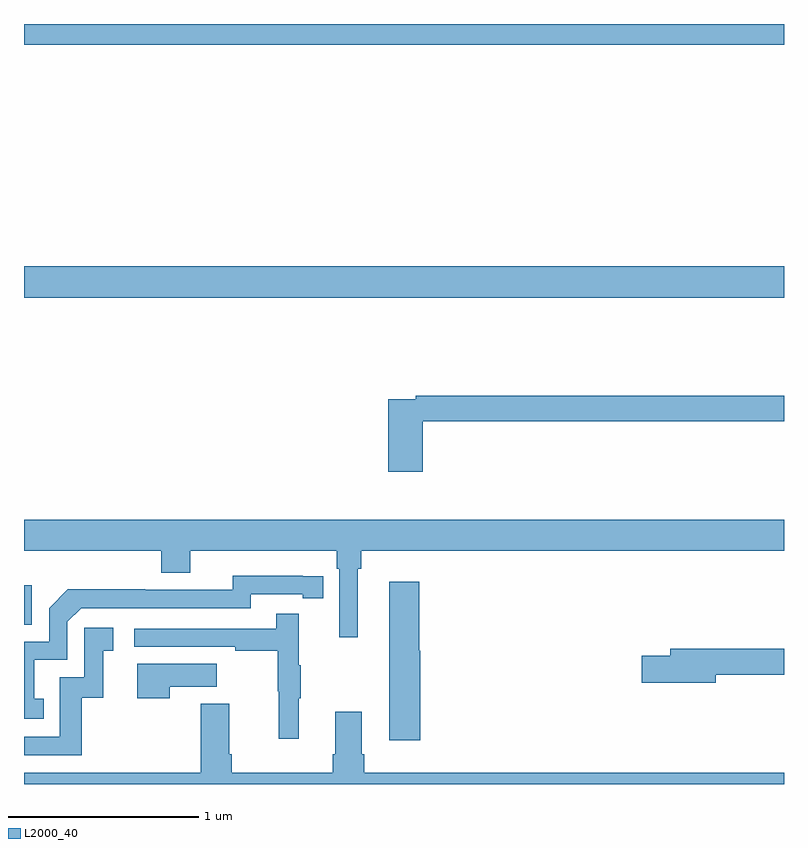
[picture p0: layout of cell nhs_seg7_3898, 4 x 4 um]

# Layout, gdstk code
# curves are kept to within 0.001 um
import gdstk
lib = gdstk.Library(unit=1e-6, precision=1e-09)
def R(c, l, rs):  # rectangles x0, y0, x1, y1
    for r in rs: c.add(gdstk.rectangle(r[:2], r[2:], *l))
def P(c, l, *ps):  # polygons
    for p in ps: c.add(gdstk.Polygon(p, *l))
L2000_40 = (2000, 40)

nhs_seg7_3898 = lib.new_cell('nhs_seg7_3898')
R(nhs_seg7_3898, L2000_40, [(357,1054.839,357.042,1055.047), (357,1056.56,361,1056.724), (357,1057.892,361,1058)])
P(nhs_seg7_3898, L2000_40, [(359.099,1055.908),(361,1055.908),(361,1056.044),(359.062,1056.044),(359.062,1056.024),(358.916,1056.024),(358.916,1055.643),(359.099,1055.643)],
  [(358.756,1055.132),(358.775,1055.132),(358.775,1055.228),(361,1055.228),(361,1055.392),(357,1055.392),(357,1055.228),(357.722,1055.228),(357.722,1055.111),(357.874,1055.111),(357.874,1055.228),(358.646,1055.228),(358.646,1055.132),(358.659,1055.132),(358.659,1054.773),(358.756,1054.773)],
  [(357.104,1054.449),(357.055,1054.449),(357.055,1054.653),(357.228,1054.653),(357.228,1054.854),(357.3,1054.926),(358.194,1054.926),(358.194,1054.998),(358.466,1054.998),(358.466,1054.978),(358.574,1054.978),(358.574,1055.094),(358.098,1055.095),(358.098,1055.022),(357.638,1055.022),(357.638,1055.024),(357.23,1055.024),(357.132,1054.926),(357.132,1054.749),(357,1054.749),(357,1054.344),(357.104,1054.344)],
  [(359.086,1054.701),(359.081,1054.701),(359.081,1055.065),(358.922,1055.065),(358.922,1054.23),(359.086,1054.23)],
  [(358.445,1054.451),(358.456,1054.451),(358.456,1054.625),(358.445,1054.625),(358.445,1054.897),(358.327,1054.897),(358.327,1054.818),(357.579,1054.818),(357.579,1054.722),(358.111,1054.722),(358.111,1054.702),(358.335,1054.702),(358.335,1054.488),(358.342,1054.488),(358.342,1054.239),(358.445,1054.239)],
  [(357.305,1054.455),(357.416,1054.455),(357.416,1054.701),(357.469,1054.701),(357.469,1054.822),(357.318,1054.822),(357.318,1054.563),(357.189,1054.563),(357.189,1054.248),(357,1054.248),(357,1054.152),(357.305,1054.152)],
  [(360.64,1054.576),(361,1054.576),(361,1054.712),(360.401,1054.712),(360.401,1054.676),(360.252,1054.676),(360.252,1054.534),(360.64,1054.534)],
  [(357.767,1054.511),(358.015,1054.511),(358.015,1054.633),(357.596,1054.633),(357.596,1054.452),(357.767,1054.452)],
  [(361,1054.06),(358.79,1054.06),(358.79,1054.156),(358.777,1054.156),(358.777,1054.381),(358.637,1054.381),(358.637,1054.156),(358.625,1054.156),(358.625,1054.06),(358.094,1054.06),(358.094,1054.156),(358.081,1054.156),(358.081,1054.423),(357.929,1054.423),(357.929,1054.06),(357,1054.06),(357,1054),(361,1054)])

lib.write_gds('nhs_seg7_3898.gds')
